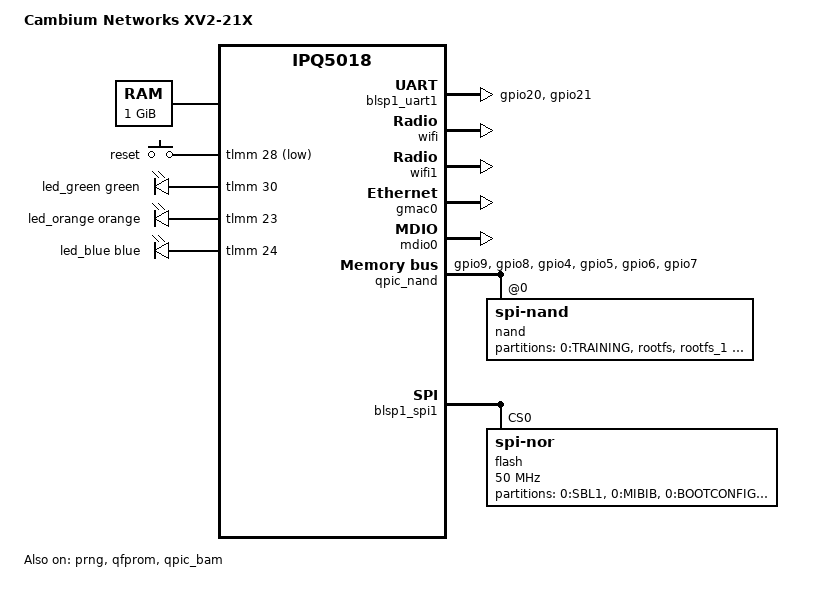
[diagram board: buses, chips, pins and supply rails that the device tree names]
// SPDX-License-Identifier: GPL-2.0-or-later OR MIT

/dts-v1/;

#include "ipq5018.dtsi"
#include "ipq5018-ess.dtsi"
#include "ipq5018-qcn6122.dtsi"

#include <dt-bindings/gpio/gpio.h>
#include <dt-bindings/input/input.h>
#include <dt-bindings/leds/common.h>
#include <dt-bindings/reset/qcom,gcc-ipq5018.h>

/ {
	model = "Cambium Networks XV2-21X";
	compatible = "cambiumnetworks,xv2-21x", "qcom,ipq5018";

	cambium-platform {
		compatible = "cambium-platform";
		board-sku = <35>;
	};

	aliases {
		label-mac-device = &gmac0;
		serial0 = &blsp1_uart1;
		led-boot = &led_orange;
		led-failsafe = &led_orange;
		led-running = &led_green;
		led-upgrade = &led_orange;
	};

	chosen {
		bootargs-append = " swiotlb=1 coherent_pool=2M";
		stdout-path = "serial0:115200n8";
	};

	memory@40000000 {
		device_type = "memory";
		reg = <0x0 0x40000000 0x0 0x40000000>;
	};

	keys {
		compatible = "gpio-keys";
		pinctrl-0 = <&button_pins>;
		pinctrl-names = "default";

		reset {
			label = "reset";
			gpios = <&tlmm 28 GPIO_ACTIVE_LOW>;
			linux,code = <KEY_RESTART>;
			debounce-interval = <60>;
		};
	};

	leds {
		compatible = "gpio-leds";

		/* Verified on v8 hardware: green GPIO30, amber GPIO23, blue GPIO24. */
		led_green: led-green {
			color = <LED_COLOR_ID_GREEN>;
			function = LED_FUNCTION_STATUS;
			gpios = <&tlmm 30 GPIO_ACTIVE_HIGH>;
			default-state = "off";
		};

		led_orange: led-orange {
			color = <LED_COLOR_ID_ORANGE>;
			function = LED_FUNCTION_STATUS;
			gpios = <&tlmm 23 GPIO_ACTIVE_HIGH>;
			default-state = "off";
		};

		led_blue: led-blue {
			color = <LED_COLOR_ID_BLUE>;
			function = LED_FUNCTION_STATUS;
			gpios = <&tlmm 24 GPIO_ACTIVE_HIGH>;
			default-state = "off";
		};
	};
};

&sleep_clk {
	clock-frequency = <32000>;
};

&xo_board_clk {
	clock-div = <4>;
	clock-mult = <1>;
};

&blsp1_uart1 {
	status = "okay";
	pinctrl-0 = <&serial_0_pins>;
	pinctrl-names = "default";
};

&prng {
	status = "okay";
};

&qfprom {
	status = "okay";
};

/* OEM reserves through 0x4e500000 for the second radio and calibration DB. */
&q6_region {
	reg = <0x0 0x4b000000 0x0 0x3500000>;
};

/* OEM enables the integrated 2.4 GHz radio and the first QCN6122 5 GHz PD. */
&wifi {
	status = "okay";
	qcom,rproc = <&q6_wcss_pd1>;
	qcom,ath11k-calibration-variant = "Cambium-XV2-21X";
	qcom,ath11k-fw-memory-mode = <1>;
	qcom,bdf-addr = <0x4c400000>;
};

&wifi1 {
	status = "okay";
	qcom,rproc = <&q6_wcss_pd2>;
	qcom,userpd-subsys-name = "q6v5_wcss_userpd2";
	qcom,ath11k-calibration-variant = "Cambium-XV2-21X-5G";
	qcom,ath11k-fw-memory-mode = <1>;
	qcom,bdf-addr = <0x4d100000>;
	qcom,m3-dump-addr = <0x4df00000>;
};

/* OEM dp1 is 39c00000.dp1 and uses the IPQ5018 internal PHY at MDIO 7. */
&gmac0 {
	status = "okay";
	label = "lan";
	nvmem-cells = <&macaddr_appsblenv_ethaddr 0>;
	nvmem-cell-names = "mac-address";
};

&mdio0 {
	status = "okay";
	/* Test whether this sibling AHB gate is needed by MDIO0. */
	clocks = <&gcc GCC_MDIO0_AHB_CLK>, <&gcc GCC_MDIO1_AHB_CLK>;
	clock-names = "gcc_mdio_ahb_clk", "xv2-mdio1-ahb";
	resets = <&gcc GCC_GEPHY_MDC_SW_ARES>;
	reset-names = "mdio";
};

&ge_phy {
	resets = <&gcc GCC_GEPHY_BCR>, <&gcc GCC_GEPHY_MISC_ARES>;
};

&qpic_bam {
	status = "okay";
};

&qpic_nand {
	pinctrl-0 = <&qpic_pins>;
	pinctrl-names = "default";
	status = "okay";

	nand@0 {
		compatible = "spi-nand";
		reg = <0>;
		nand-ecc-engine = <&qpic_nand>;
		nand-ecc-step-size = <512>;
		nand-ecc-strength = <4>;
		nand-bus-width = <8>;

		partitions {
			compatible = "fixed-partitions";
			#address-cells = <1>;
			#size-cells = <1>;

			partition@0 {
				label = "0:TRAINING";
				reg = <0x0 0x80000>;
				read-only;
			};

			rootfs: partition@80000 {
				label = "rootfs";
				reg = <0x80000 0x6000000>;
				read-only;
			};

			rootfs_1: partition@6080000 {
				label = "rootfs_1";
				reg = <0x6080000 0x6000000>;
				read-only;
			};

			partition@c080000 {
				label = "0:NVRAM";
				reg = <0xc080000 0x2f80000>;
				read-only;
			};

			partition@f000000 {
				label = "crashLog";
				reg = <0xf000000 0x1000000>;
				read-only;
			};
		};
	};
};

&blsp1_spi1 {
	status = "okay";

	flash@0 {
		compatible = "jedec,spi-nor";
		reg = <0>;
		spi-max-frequency = <50000000>;

		partitions {
			compatible = "fixed-partitions";
			#address-cells = <1>;
			#size-cells = <1>;

			partition@0 {
				label = "0:SBL1";
				reg = <0x0 0x30000>;
				read-only;
			};

			partition@30000 {
				label = "0:MIBIB";
				reg = <0x30000 0x10000>;
				read-only;
			};

			partition@40000 {
				label = "0:BOOTCONFIG";
				reg = <0x40000 0x10000>;
				read-only;
			};

			partition@50000 {
				label = "0:BOOTCONFIG1";
				reg = <0x50000 0x10000>;
				read-only;
			};

			partition@60000 {
				label = "0:QSEE";
				reg = <0x60000 0xa0000>;
				read-only;
			};

			partition@100000 {
				label = "0:QSEE_1";
				reg = <0x100000 0xa0000>;
				read-only;
			};

			partition@1a0000 {
				label = "0:DEVCFG";
				reg = <0x1a0000 0x10000>;
				read-only;
			};

			partition@1b0000 {
				label = "mfginfo";
				reg = <0x1b0000 0x10000>;
				read-only;
			};

			partition@1c0000 {
				label = "0:CDT";
				reg = <0x1c0000 0x10000>;
				read-only;
			};

			partition@1d0000 {
				label = "0:CDT_1";
				reg = <0x1d0000 0x10000>;
				read-only;
			};

			partition@1e0000 {
				label = "oldappsblenv";
				reg = <0x1e0000 0x10000>;
				read-only;
			};

			partition@1f0000 {
				label = "0:APPSBL";
				reg = <0x1f0000 0xa0000>;
				read-only;
			};

			partition@290000 {
				label = "0:APPSBL_1";
				reg = <0x290000 0xa0000>;
				read-only;
			};

			partition@330000 {
				label = "0:ART";
				reg = <0x330000 0x70000>;
				read-only;
			};

			partition@3a0000 {
				label = "0:DEVCFG_1";
				reg = <0x3a0000 0x10000>;
				read-only;
			};

			appsblenv: partition@3b0000 {
				label = "0:APPSBLENV";
				reg = <0x3b0000 0x10000>;
				read-only;

				nvmem-layout {
					compatible = "u-boot,env";
					env-size = <0x10000>;

					macaddr_appsblenv_ethaddr: ethaddr {
						#nvmem-cell-cells = <1>;
					};
				};
			};

			partition@3c0000 {
				label = "config";
				reg = <0x3c0000 0x10000>;
				read-only;
			};
		};
	};
};

&tlmm {
	button_pins: button-state {
		pins = "gpio28";
		function = "gpio";
		drive-strength = <8>;
		bias-pull-up;
	};

	qpic_pins: qpic-state {
		clock-pins {
			pins = "gpio9";
			function = "qspi_clk";
			drive-strength = <8>;
			bias-disable;
		};

		cs-pins {
			pins = "gpio8";
			function = "qspi_cs";
			drive-strength = <8>;
			bias-disable;
		};

		data-pins {
			pins = "gpio4", "gpio5", "gpio6", "gpio7";
			function = "qspi_data";
			drive-strength = <8>;
			bias-disable;
		};
	};

	serial_0_pins: uart0-state {
		pins = "gpio20", "gpio21";
		function = "blsp0_uart0";
		bias-disable;
	};
};
